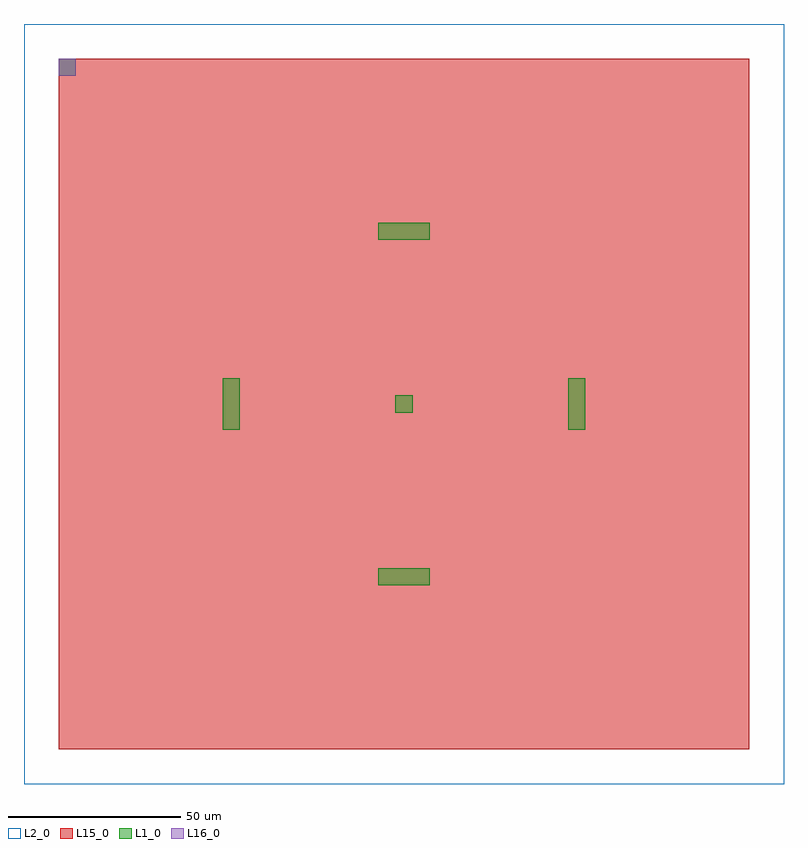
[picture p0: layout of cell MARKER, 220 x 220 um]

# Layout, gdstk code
import gdstk
lib = gdstk.Library(unit=1e-6, precision=1e-09)
def R(c, l, rs):  # rectangles x0, y0, x1, y1
    for r in rs: c.add(gdstk.rectangle(r[:2], r[2:], *l))
L1_0 = (1, 0)
L2_0 = (2, 0)
L15_0 = (15, 0)
L16_0 = (16, 0)

marker = lib.new_cell('MARKER')
R(marker, L1_0, [(-7.5,-52.5,7.5,-47.5), (-52.5,-7.5,-47.5,7.5), (47.5,-7.5,52.5,7.5), (-2.5,-2.5,2.5,2.5), (-7.5,47.5,7.5,52.5), (-100,95,-95,100)])
R(marker, L2_0, [(-110,-110,110,110)])
R(marker, L15_0, [(-100,-100,100,100)])
R(marker, L16_0, [(-100,95,-95,100)])

lib.write_gds('MARKER.gds')
